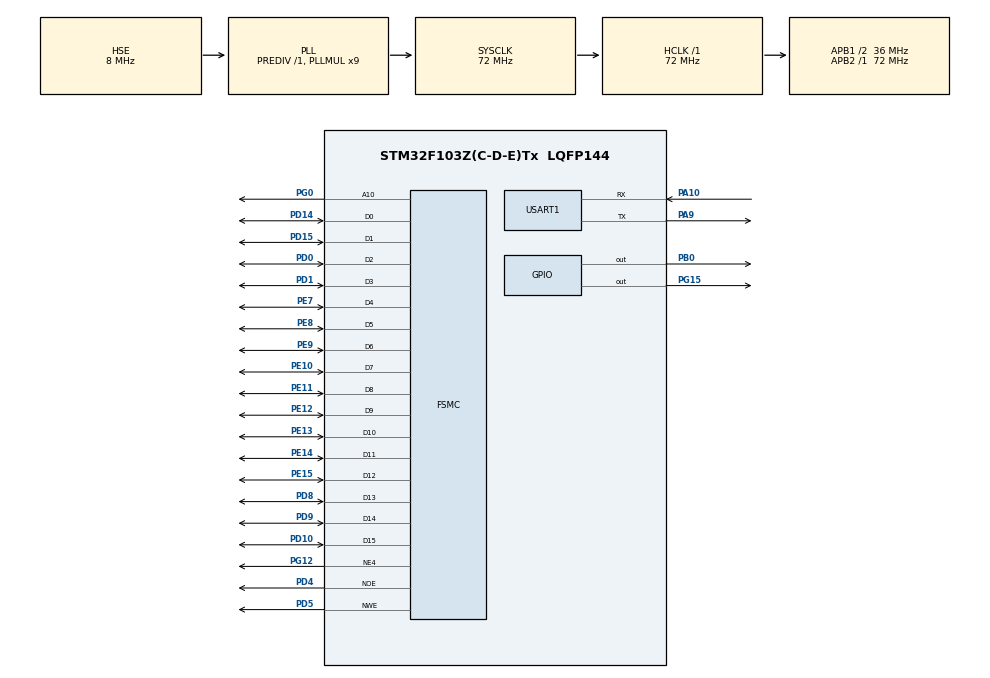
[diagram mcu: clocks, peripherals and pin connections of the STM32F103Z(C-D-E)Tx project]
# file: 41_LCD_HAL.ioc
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FSMC.AddressSetupTime1=0
FSMC.BusTurnAroundDuration1=0
FSMC.DataSetupTime1=30
Mcu.Family=STM32F1
Mcu.Name=STM32F103Z(C-D-E)Tx
Mcu.Package=LQFP144
NVIC.PriorityGroup=NVIC_PRIORITYGROUP_4
OSC_IN.Mode=HSE-External-Oscillator
OSC_IN.Signal=RCC_OSC_IN
OSC_OUT.Mode=HSE-External-Oscillator
OSC_OUT.Signal=RCC_OSC_OUT
PA10.Mode=Asynchronous
PA10.Signal=USART1_RX
PA13.Mode=Serial_Wire
PA13.Signal=SYS_JTMS-SWDIO
PA14.Mode=Serial_Wire
PA14.Signal=SYS_JTCK-SWCLK
PA9.Mode=Asynchronous
PA9.Signal=USART1_TX
PB0.Signal=GPIO_Output
PC14-OSC32_IN.Mode=LSE-External-Oscillator
PC14-OSC32_IN.Signal=RCC_OSC32_IN
PC15-OSC32_OUT.Mode=LSE-External-Oscillator
PC15-OSC32_OUT.Signal=RCC_OSC32_OUT
PD0.Signal=FSMC_D2_DA2
PD1.Signal=FSMC_D3_DA3
PD10.Signal=FSMC_D15_DA15
PD14.Signal=FSMC_D0_DA0
PD15.Signal=FSMC_D1_DA1
PD4.Signal=FSMC_NOE
PD5.Signal=FSMC_NWE
PD8.Signal=FSMC_D13_DA13
PD9.Signal=FSMC_D14_DA14
PE10.Signal=FSMC_D7_DA7
PE11.Signal=FSMC_D8_DA8
PE12.Signal=FSMC_D9_DA9
PE13.Signal=FSMC_D10_DA10
PE14.Signal=FSMC_D11_DA11
PE15.Signal=FSMC_D12_DA12
PE7.Signal=FSMC_D4_DA4
PE8.Signal=FSMC_D5_DA5
PE9.Signal=FSMC_D6_DA6
PG0.Signal=FSMC_A10
PG12.Mode=NorPsramChipSelect4_1
PG12.Signal=FSMC_NE4
PG15.Signal=GPIO_Output
ProjectManager.HeapSize=0x200
ProjectManager.StackSize=0x400
ProjectManager.TargetToolchain=MDK-ARM V5.32
RCC.AHBFreq_Value=72000000
RCC.APB1CLKDivider=RCC_HCLK_DIV2
RCC.APB1Freq_Value=36000000
RCC.APB1TimFreq_Value=72000000
RCC.APB2Freq_Value=72000000
RCC.APB2TimFreq_Value=72000000
RCC.HCLKFreq_Value=72000000
RCC.PLLMUL=RCC_PLL_MUL9
RCC.PLLSourceVirtual=RCC_PLLSOURCE_HSE
RCC.RTCClockSelection=RCC_RTCCLKSOURCE_LSE
RCC.SYSCLKFreq_VALUE=72000000
RCC.SYSCLKSource=RCC_SYSCLKSOURCE_PLLCLK
RCC.USBFreq_Value=72000000
RTC.AutoPrediv=RTC_AUTO_1_SECOND
RTC.Date=3
RTC.Format=RTC_FORMAT_BCD
RTC.Hours=9
RTC.Minutes=30
RTC.Month=RTC_MONTH_JUNE
RTC.Seconds=55
RTC.WeekDay=RTC_WEEKDAY_MONDAY
RTC.Year=24
SH.FSMC_A10.0=FSMC_A10,A10_1
SH.FSMC_D0_DA0.0=FSMC_D0,16b-d1
SH.FSMC_D10_DA10.0=FSMC_D10,16b-d1
SH.FSMC_D11_DA11.0=FSMC_D11,16b-d1
SH.FSMC_D12_DA12.0=FSMC_D12,16b-d1
SH.FSMC_D13_DA13.0=FSMC_D13,16b-d1
SH.FSMC_D14_DA14.0=FSMC_D14,16b-d1
SH.FSMC_D15_DA15.0=FSMC_D15,16b-d1
SH.FSMC_D1_DA1.0=FSMC_D1,16b-d1
SH.FSMC_D2_DA2.0=FSMC_D2,16b-d1
SH.FSMC_D3_DA3.0=FSMC_D3,16b-d1
SH.FSMC_D4_DA4.0=FSMC_D4,16b-d1
SH.FSMC_D5_DA5.0=FSMC_D5,16b-d1
SH.FSMC_D6_DA6.0=FSMC_D6,16b-d1
SH.FSMC_D7_DA7.0=FSMC_D7,16b-d1
SH.FSMC_D8_DA8.0=FSMC_D8,16b-d1
SH.FSMC_D9_DA9.0=FSMC_D9,16b-d1
SH.FSMC_NOE.0=FSMC_NOE,Lcd1
SH.FSMC_NWE.0=FSMC_NWE,Lcd1
USART1.VirtualMode=VM_ASYNC
VP_RTC_VS_RTC_Activate.Mode=RTC_Enabled
VP_RTC_VS_RTC_Calendar.Mode=RTC_Calendar
board=custom

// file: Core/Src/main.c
/* USER CODE BEGIN Header */
/**
 ******************************************************************************
 * @file           : main.c
 * @brief          : Main program body
 ******************************************************************************
 * @attention
 *
 * Copyright (c) 2024 STMicroelectronics.
 * All rights reserved.
 *
 * This software is licensed under terms that can be found in the LICENSE file
 * in the root directory of this software component.
 * If no LICENSE file comes with this software, it is provided AS-IS.
 *
 ******************************************************************************
 */
/* USER CODE END Header */
#include "main.h"
#include "rtc.h"
#include "usart.h"
#include "gpio.h"
#include "fsmc.h"

/* USER CODE BEGIN Includes */
#include "Inf_LCD.h"
#include "stdio.h"

/* USER CODE END Includes */

void SystemClock_Config(void);

/* USER CODE BEGIN 0 */
uint8_t dateTimeBuff[50];
/* USER CODE END 0 */

int main(void)
{

    /* MCU Configuration--------------------------------------------------------*/

    /* Reset of all peripherals, Initializes the Flash interface and the Systick. */
    HAL_Init();

    /* Configure the system clock */
    SystemClock_Config();

    /* Initialize all configured peripherals */
    MX_GPIO_Init();
    MX_FSMC_Init();
    MX_USART1_UART_Init();
    MX_RTC_Init();

    /* Infinite loop */
    /* USER CODE BEGIN WHILE */
    Inf_LCD_Init();

    RTC_TimeTypeDef time;
    RTC_DateTypeDef date;
    while(1)
    {
        /* 1. �Ȼ�ȡʱ���� */
        HAL_RTC_GetTime(&hrtc, &time, RTC_FORMAT_BCD);
        /* 2. �ٻ�ȡ������ */
        HAL_RTC_GetDate(&hrtc, &date, RTC_FORMAT_BCD);

        sprintf((char *)dateTimeBuff,"%04x-%02x-%02x %02x:%02x:%02x",
                       date.Year,
                       date.Month,
                       date.Date,
                       time.Hours,
                       time.Minutes,
                       time.Seconds);
        printf("%s\r\n", dateTimeBuff);
        HAL_Delay(1000);
        /* USER CODE END WHILE */

    }
}

void SystemClock_Config(void)
{
    RCC_OscInitTypeDef       RCC_OscInitStruct = {0};
    RCC_ClkInitTypeDef       RCC_ClkInitStruct = {0};
    RCC_PeriphCLKInitTypeDef PeriphClkInit     = {0};

    /** Initializes the RCC Oscillators according to the specified parameters
     * in the RCC_OscInitTypeDef structure.
     */
    RCC_OscInitStruct.OscillatorType = RCC_OSCILLATORTYPE_HSE | RCC_OSCILLATORTYPE_LSE;
    RCC_OscInitStruct.HSEState       = RCC_HSE_ON;
    RCC_OscInitStruct.HSEPredivValue = RCC_HSE_PREDIV_DIV1;
    RCC_OscInitStruct.LSEState       = RCC_LSE_ON;
    RCC_OscInitStruct.HSIState       = RCC_HSI_ON;
    RCC_OscInitStruct.PLL.PLLState   = RCC_PLL_ON;
    RCC_OscInitStruct.PLL.PLLSource  = RCC_PLLSOURCE_HSE;
    RCC_OscInitStruct.PLL.PLLMUL     = RCC_PLL_MUL9;
    if(HAL_RCC_OscConfig(&RCC_OscInitStruct) != HAL_OK)
    {
        Error_Handler();
    }

    /** Initializes the CPU, AHB and APB buses clocks
     */
    RCC_ClkInitStruct.ClockType      = RCC_CLOCKTYPE_HCLK | RCC_CLOCKTYPE_SYSCLK | RCC_CLOCKTYPE_PCLK1 | RCC_CLOCKTYPE_PCLK2;
    RCC_ClkInitStruct.SYSCLKSource   = RCC_SYSCLKSOURCE_PLLCLK;
    RCC_ClkInitStruct.AHBCLKDivider  = RCC_SYSCLK_DIV1;
    RCC_ClkInitStruct.APB1CLKDivider = RCC_HCLK_DIV2;
    RCC_ClkInitStruct.APB2CLKDivider = RCC_HCLK_DIV1;

    if(HAL_RCC_ClockConfig(&RCC_ClkInitStruct, FLASH_LATENCY_2) != HAL_OK)
    {
        Error_Handler();
    }
    PeriphClkInit.PeriphClockSelection = RCC_PERIPHCLK_RTC;
    PeriphClkInit.RTCClockSelection    = RCC_RTCCLKSOURCE_LSE;
    if(HAL_RCCEx_PeriphCLKConfig(&PeriphClkInit) != HAL_OK)
    {
        Error_Handler();
    }
}

void Error_Handler(void)
{
    __disable_irq();
    while(1)
    {
    }
}
